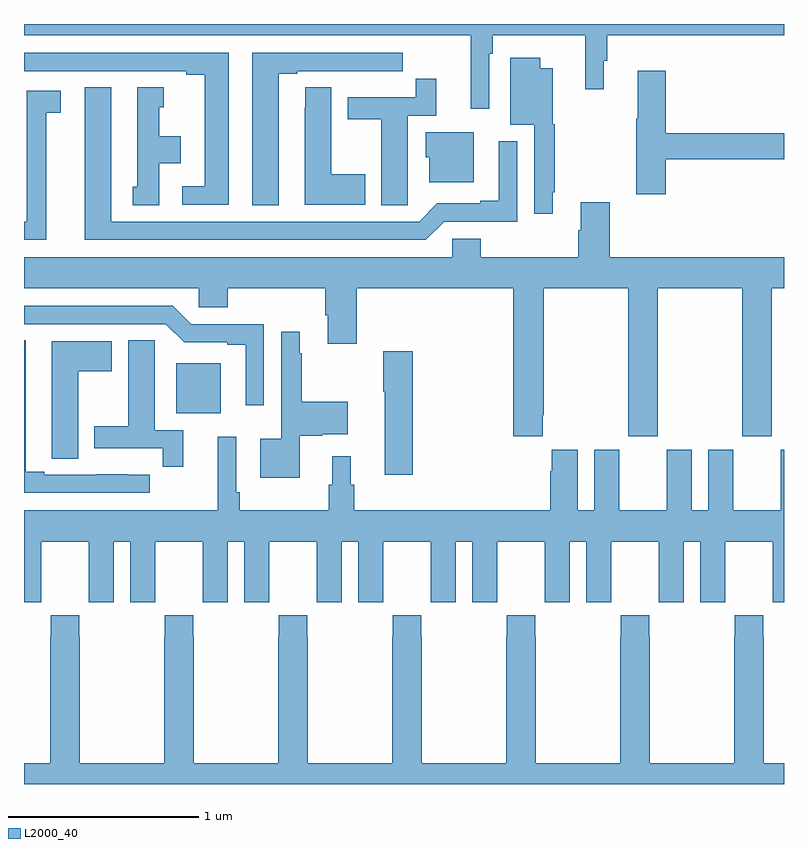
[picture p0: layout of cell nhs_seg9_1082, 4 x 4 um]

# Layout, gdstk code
import gdstk
lib = gdstk.Library(unit=1e-6, precision=1e-09)
def R(c, l, rs):  # rectangles x0, y0, x1, y1
    for r in rs: c.add(gdstk.rectangle(r[:2], r[2:], *l))
def P(c, l, *ps):  # polygons
    for p in ps: c.add(gdstk.Polygon(p, *l))
L2000_40 = (2000, 40)

nhs_seg9_1082 = lib.new_cell('nhs_seg9_1082')
R(nhs_seg9_1082, L2000_40, [(171.8,1174.451,172.036,1174.714)])
P(nhs_seg9_1082, L2000_40, [(173.448,1176.344),(173.468,1176.344),(173.468,1176.44),(173.953,1176.44),(173.953,1176.156),(174.052,1176.156),(174.052,1176.306),(174.071,1176.306),(174.071,1176.44),(175,1176.44),(175,1176.5),(171,1176.5),(171,1176.44),(173.351,1176.44),(173.351,1176.054),(173.448,1176.054)],
  [(172.078,1176.348),(171,1176.348),(171,1176.252),(171.854,1176.252),(171.854,1176.232),(171.95,1176.232),(171.95,1175.646),(171.834,1175.646),(171.834,1175.55),(172.078,1175.55)],
  [(172.342,1176.237),(172.438,1176.237),(172.438,1176.252),(172.714,1176.252),(172.714,1176.251),(172.88,1176.251),(172.88,1176.252),(172.993,1176.252),(172.993,1176.348),(172.202,1176.348),(172.202,1175.545),(172.342,1175.545)],
  [(173.782,1175.614),(173.794,1175.614),(173.794,1175.973),(173.782,1175.973),(173.782,1176.268),(173.716,1176.268),(173.716,1176.322),(173.558,1176.322),(173.558,1175.969),(173.685,1175.969),(173.685,1175.502),(173.782,1175.502)],
  [(174.377,1175.788),(175,1175.788),(175,1175.924),(174.377,1175.924),(174.377,1176.253),(174.23,1176.253),(174.23,1176.001),(174.223,1176.001),(174.223,1175.604),(174.377,1175.604)],
  [(173.019,1175.656),(173.02,1175.656),(173.02,1176.018),(173.171,1176.018),(173.171,1176.211),(173.062,1176.211),(173.062,1176.114),(172.703,1176.114),(172.703,1175.998),(172.88,1175.998),(172.88,1175.545),(173.019,1175.545)],
  [(172.795,1175.709),(172.618,1175.709),(172.618,1176.167),(172.479,1176.167),(172.479,1176.059),(172.478,1176.059),(172.478,1175.549),(172.795,1175.549)],
  [(173.211,1175.46),(173.595,1175.46),(173.595,1175.884),(173.498,1175.884),(173.498,1175.569),(173.402,1175.569),(173.402,1175.556),(173.175,1175.556),(173.079,1175.46),(171.46,1175.46),(171.46,1176.166),(171.32,1176.166),(171.32,1175.364),(173.115,1175.364)],
  [(171.712,1175.768),(171.826,1175.768),(171.826,1175.908),(171.712,1175.908),(171.712,1176.063),(171.736,1176.063),(171.736,1176.166),(171.596,1176.166),(171.596,1175.643),(171.572,1175.643),(171.572,1175.545),(171.712,1175.545)],
  [(171.118,1176.034),(171.193,1176.034),(171.193,1176.15),(171.014,1176.15),(171.014,1175.46),(171,1175.46),(171,1175.364),(171.118,1175.364)],
  [(173.368,1175.929),(173.114,1175.929),(173.114,1175.799),(173.132,1175.799),(173.132,1175.666),(173.368,1175.666)],
  [(173.731,1174.441),(173.736,1174.441),(173.736,1175.108),(174.181,1175.108),(174.181,1174.329),(174.336,1174.329),(174.336,1175.108),(174.781,1175.108),(174.781,1174.329),(174.936,1174.329),(174.936,1175.108),(175,1175.108),(175,1175.272),(174.083,1175.272),(174.083,1175.563),(173.93,1175.563),(173.93,1175.414),(173.918,1175.414),(173.918,1175.272),(173.405,1175.272),(173.405,1175.37),(173.253,1175.37),(173.253,1175.272),(171,1175.272),(171,1175.108),(171.921,1175.108),(171.921,1175.01),(172.073,1175.01),(172.073,1175.108),(172.586,1175.108),(172.586,1174.966),(172.598,1174.966),(172.598,1174.818),(172.751,1174.818),(172.751,1175.108),(173.576,1175.108),(173.576,1174.329),(173.731,1174.329)],
  [(172.263,1174.92),(171.879,1174.92),(171.783,1175.016),(171,1175.016),(171,1174.92),(171.747,1174.92),(171.843,1174.824),(172.07,1174.824),(172.07,1174.812),(172.166,1174.812),(172.166,1174.494),(172.263,1174.494)],
  [(172.45,1174.333),(172.569,1174.333),(172.569,1174.34),(172.705,1174.34),(172.705,1174.511),(172.462,1174.511),(172.462,1174.766),(172.45,1174.766),(172.45,1174.879),(172.353,1174.879),(172.353,1174.318),(172.244,1174.318),(172.244,1174.112),(172.45,1174.112)],
  [(171.661,1174.128),(171.548,1174.128),(171.548,1174.129),(171.382,1174.129),(171.382,1174.128),(171.106,1174.128),(171.106,1174.143),(171.01,1174.143),(171.01,1174.835),(171,1174.835),(171,1174.032),(171.661,1174.032)],
  [(171.839,1174.362),(171.688,1174.362),(171.688,1174.724),(171.687,1174.724),(171.687,1174.835),(171.548,1174.835),(171.548,1174.383),(171.371,1174.383),(171.371,1174.266),(171.73,1174.266),(171.73,1174.17),(171.839,1174.17)],
  [(171.286,1174.672),(171.463,1174.672),(171.463,1174.831),(171.146,1174.831),(171.146,1174.321),(171.147,1174.321),(171.147,1174.213),(171.286,1174.213)],
  [(173.045,1174.777),(172.891,1174.777),(172.891,1174.564),(172.898,1174.564),(172.898,1174.128),(173.045,1174.128)],
  [(171.09,1173.568),(171.091,1173.568),(171.091,1173.776),(171.341,1173.776),(171.341,1173.568),(171.342,1173.568),(171.342,1173.456),(171.472,1173.456),(171.472,1173.776),(171.56,1173.776),(171.56,1173.456),(171.69,1173.456),(171.69,1173.568),(171.691,1173.568),(171.691,1173.776),(171.941,1173.776),(171.941,1173.568),(171.942,1173.568),(171.942,1173.456),(172.072,1173.456),(172.072,1173.776),(172.16,1173.776),(172.16,1173.456),(172.29,1173.456),(172.29,1173.568),(172.291,1173.568),(172.291,1173.776),(172.541,1173.776),(172.541,1173.568),(172.542,1173.568),(172.542,1173.456),(172.672,1173.456),(172.672,1173.776),(172.76,1173.776),(172.76,1173.456),(172.89,1173.456),(172.89,1173.568),(172.891,1173.568),(172.891,1173.776),(173.141,1173.776),(173.141,1173.568),(173.142,1173.568),(173.142,1173.456),(173.272,1173.456),(173.272,1173.776),(173.36,1173.776),(173.36,1173.456),(173.49,1173.456),(173.49,1173.568),(173.491,1173.568),(173.491,1173.776),(173.741,1173.776),(173.741,1173.568),(173.742,1173.568),(173.742,1173.456),(173.872,1173.456),(173.872,1173.776),(173.96,1173.776),(173.96,1173.456),(174.09,1173.456),(174.09,1173.568),(174.091,1173.568),(174.091,1173.776),(174.341,1173.776),(174.341,1173.568),(174.342,1173.568),(174.342,1173.456),(174.472,1173.456),(174.472,1173.776),(174.56,1173.776),(174.56,1173.456),(174.69,1173.456),(174.69,1173.568),(174.691,1173.568),(174.691,1173.776),(174.941,1173.776),(174.941,1173.568),(174.942,1173.568),(174.942,1173.456),(175,1173.456),(175,1174.258),(174.983,1174.258),(174.983,1173.94),(174.733,1173.94),(174.733,1174.258),(174.602,1174.258),(174.602,1173.94),(174.514,1173.94),(174.514,1174.258),(174.383,1174.258),(174.383,1173.94),(174.133,1173.94),(174.133,1174.258),(174.002,1174.258),(174.002,1173.94),(173.914,1173.94),(173.914,1174.258),(173.777,1174.258),(173.777,1174.145),(173.771,1174.145),(173.771,1173.94),(172.739,1173.94),(172.739,1174.074),(172.72,1174.074),(172.72,1174.225),(172.622,1174.225),(172.622,1174.074),(172.603,1174.074),(172.603,1173.94),(172.136,1173.94),(172.136,1174.036),(172.116,1174.036),(172.116,1174.327),(172.019,1174.327),(172.019,1173.94),(171,1173.94),(171,1173.456),(171.09,1173.456)],
  [(175,1172.608),(174.894,1172.608),(174.894,1173.275),(174.891,1173.275),(174.891,1173.388),(174.741,1173.388),(174.741,1173.275),(174.739,1173.275),(174.739,1172.608),(174.294,1172.608),(174.294,1173.275),(174.291,1173.275),(174.291,1173.388),(174.141,1173.388),(174.141,1173.275),(174.139,1173.275),(174.139,1172.608),(173.694,1172.608),(173.694,1173.275),(173.691,1173.275),(173.691,1173.388),(173.541,1173.388),(173.541,1173.275),(173.539,1173.275),(173.539,1172.608),(173.094,1172.608),(173.094,1173.275),(173.091,1173.275),(173.091,1173.388),(172.941,1173.388),(172.941,1173.275),(172.939,1173.275),(172.939,1172.608),(172.494,1172.608),(172.494,1173.275),(172.491,1173.275),(172.491,1173.388),(172.341,1173.388),(172.341,1173.275),(172.339,1173.275),(172.339,1172.608),(171.894,1172.608),(171.894,1173.275),(171.891,1173.275),(171.891,1173.388),(171.741,1173.388),(171.741,1173.275),(171.739,1173.275),(171.739,1172.608),(171.294,1172.608),(171.294,1173.275),(171.291,1173.275),(171.291,1173.388),(171.141,1173.388),(171.141,1173.275),(171.139,1173.275),(171.139,1172.608),(171,1172.608),(171,1172.5),(175,1172.5)])

lib.write_gds('nhs_seg9_1082.gds')
